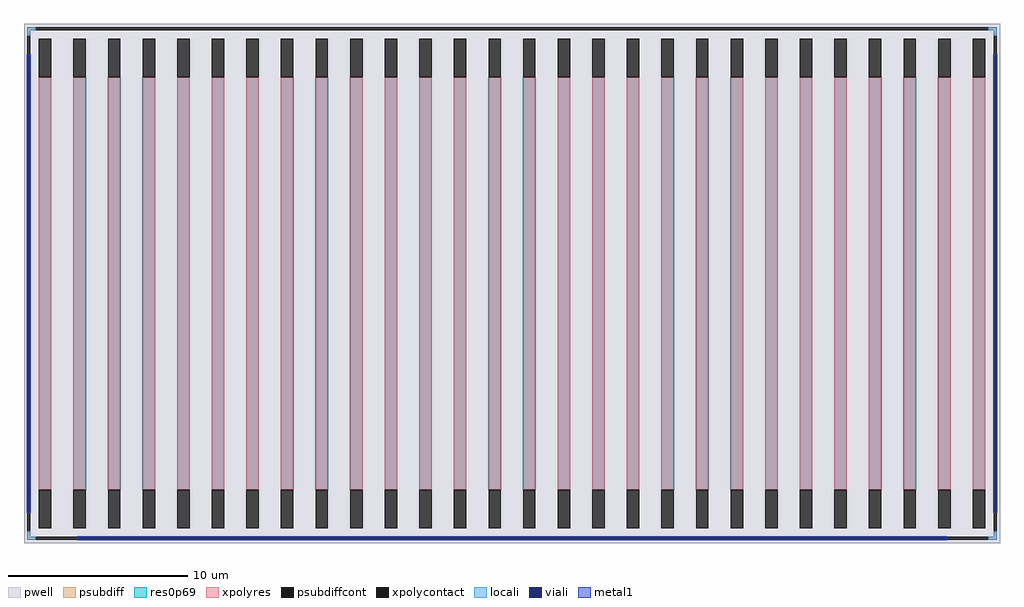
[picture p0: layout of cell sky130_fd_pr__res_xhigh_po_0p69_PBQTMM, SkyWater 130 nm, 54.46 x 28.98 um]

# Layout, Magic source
magic
tech sky130A
magscale 1 2
<< pwell >>
rect -5446 -2898 5446 2898
<< psubdiff >>
rect -5410 2828 -5314 2862
rect 5314 2828 5410 2862
rect -5410 2766 -5376 2828
rect 5376 2766 5410 2828
rect -5410 -2828 -5376 -2766
rect 5376 -2828 5410 -2766
rect -5410 -2862 -5314 -2828
rect 5314 -2862 5410 -2828
<< psubdiffcont >>
rect -5314 2828 5314 2862
rect -5410 -2766 -5376 2766
rect 5376 -2766 5410 2766
rect -5314 -2862 5314 -2828
<< xpolycontact >>
rect -5280 2300 -5142 2732
rect -5280 -2732 -5142 -2300
rect -4894 2300 -4756 2732
rect -4894 -2732 -4756 -2300
rect -4508 2300 -4370 2732
rect -4508 -2732 -4370 -2300
rect -4122 2300 -3984 2732
rect -4122 -2732 -3984 -2300
rect -3736 2300 -3598 2732
rect -3736 -2732 -3598 -2300
rect -3350 2300 -3212 2732
rect -3350 -2732 -3212 -2300
rect -2964 2300 -2826 2732
rect -2964 -2732 -2826 -2300
rect -2578 2300 -2440 2732
rect -2578 -2732 -2440 -2300
rect -2192 2300 -2054 2732
rect -2192 -2732 -2054 -2300
rect -1806 2300 -1668 2732
rect -1806 -2732 -1668 -2300
rect -1420 2300 -1282 2732
rect -1420 -2732 -1282 -2300
rect -1034 2300 -896 2732
rect -1034 -2732 -896 -2300
rect -648 2300 -510 2732
rect -648 -2732 -510 -2300
rect -262 2300 -124 2732
rect -262 -2732 -124 -2300
rect 124 2300 262 2732
rect 124 -2732 262 -2300
rect 510 2300 648 2732
rect 510 -2732 648 -2300
rect 896 2300 1034 2732
rect 896 -2732 1034 -2300
rect 1282 2300 1420 2732
rect 1282 -2732 1420 -2300
rect 1668 2300 1806 2732
rect 1668 -2732 1806 -2300
rect 2054 2300 2192 2732
rect 2054 -2732 2192 -2300
rect 2440 2300 2578 2732
rect 2440 -2732 2578 -2300
rect 2826 2300 2964 2732
rect 2826 -2732 2964 -2300
rect 3212 2300 3350 2732
rect 3212 -2732 3350 -2300
rect 3598 2300 3736 2732
rect 3598 -2732 3736 -2300
rect 3984 2300 4122 2732
rect 3984 -2732 4122 -2300
rect 4370 2300 4508 2732
rect 4370 -2732 4508 -2300
rect 4756 2300 4894 2732
rect 4756 -2732 4894 -2300
rect 5142 2300 5280 2732
rect 5142 -2732 5280 -2300
<< xpolyres >>
rect -5280 -2300 -5142 2300
rect -4894 -2300 -4756 2300
rect -4508 -2300 -4370 2300
rect -4122 -2300 -3984 2300
rect -3736 -2300 -3598 2300
rect -3350 -2300 -3212 2300
rect -2964 -2300 -2826 2300
rect -2578 -2300 -2440 2300
rect -2192 -2300 -2054 2300
rect -1806 -2300 -1668 2300
rect -1420 -2300 -1282 2300
rect -1034 -2300 -896 2300
rect -648 -2300 -510 2300
rect -262 -2300 -124 2300
rect 124 -2300 262 2300
rect 510 -2300 648 2300
rect 896 -2300 1034 2300
rect 1282 -2300 1420 2300
rect 1668 -2300 1806 2300
rect 2054 -2300 2192 2300
rect 2440 -2300 2578 2300
rect 2826 -2300 2964 2300
rect 3212 -2300 3350 2300
rect 3598 -2300 3736 2300
rect 3984 -2300 4122 2300
rect 4370 -2300 4508 2300
rect 4756 -2300 4894 2300
rect 5142 -2300 5280 2300
<< locali >>
rect -5410 2828 -5314 2862
rect 5314 2828 5410 2862
rect -5410 2766 -5376 2828
rect 5376 2766 5410 2828
rect -5410 -2828 -5376 -2766
rect 5376 -2828 5410 -2766
rect -5410 -2862 -5314 -2828
rect 5314 -2862 5410 -2828
<< viali >>
rect -5410 -2545 -5376 2545
rect 5376 -2545 5410 2545
rect -4838 -2862 4838 -2828
<< metal1 >>
rect -5416 2545 -5370 2557
rect -5416 -2545 -5410 2545
rect -5376 -2545 -5370 2545
rect -5416 -2557 -5370 -2545
rect 5370 2545 5416 2557
rect 5370 -2545 5376 2545
rect 5410 -2545 5416 2545
rect 5370 -2557 5416 -2545
rect -4850 -2828 4850 -2822
rect -4850 -2862 -4838 -2828
rect 4838 -2862 4850 -2828
rect -4850 -2868 4850 -2862
<< res0p69 >>
rect -5282 -2302 -5140 2302
rect -4896 -2302 -4754 2302
rect -4510 -2302 -4368 2302
rect -4124 -2302 -3982 2302
rect -3738 -2302 -3596 2302
rect -3352 -2302 -3210 2302
rect -2966 -2302 -2824 2302
rect -2580 -2302 -2438 2302
rect -2194 -2302 -2052 2302
rect -1808 -2302 -1666 2302
rect -1422 -2302 -1280 2302
rect -1036 -2302 -894 2302
rect -650 -2302 -508 2302
rect -264 -2302 -122 2302
rect 122 -2302 264 2302
rect 508 -2302 650 2302
rect 894 -2302 1036 2302
rect 1280 -2302 1422 2302
rect 1666 -2302 1808 2302
rect 2052 -2302 2194 2302
rect 2438 -2302 2580 2302
rect 2824 -2302 2966 2302
rect 3210 -2302 3352 2302
rect 3596 -2302 3738 2302
rect 3982 -2302 4124 2302
rect 4368 -2302 4510 2302
rect 4754 -2302 4896 2302
rect 5140 -2302 5282 2302
<< properties >>
string gencell sky130_fd_pr__res_xhigh_po_0p69
string FIXED_BBOX -5393 -2845 5393 2845
string parameters w 0.69 l 23.0 m 1 nx 28 wmin 0.690 lmin 0.50 rho 2000 val 66.722k dummy 0 dw 0.0 term 19.188 sterm 0.0 caplen 0 wmax 0.690 guard 1 glc 1 grc 1 gtc 1 gbc 1 compatible {sky130_fd_pr__res_xhigh_po_0p35  sky130_fd_pr__res_xhigh_po_0p69 sky130_fd_pr__res_xhigh_po_1p41  sky130_fd_pr__res_xhigh_po_2p85 sky130_fd_pr__res_xhigh_po_5p73} full_metal 1 n_guard 0 hv_guard 0 vias 0 viagb 90 viagt 0 viagl 90 viagr 90
string library sky130
<< end >>
